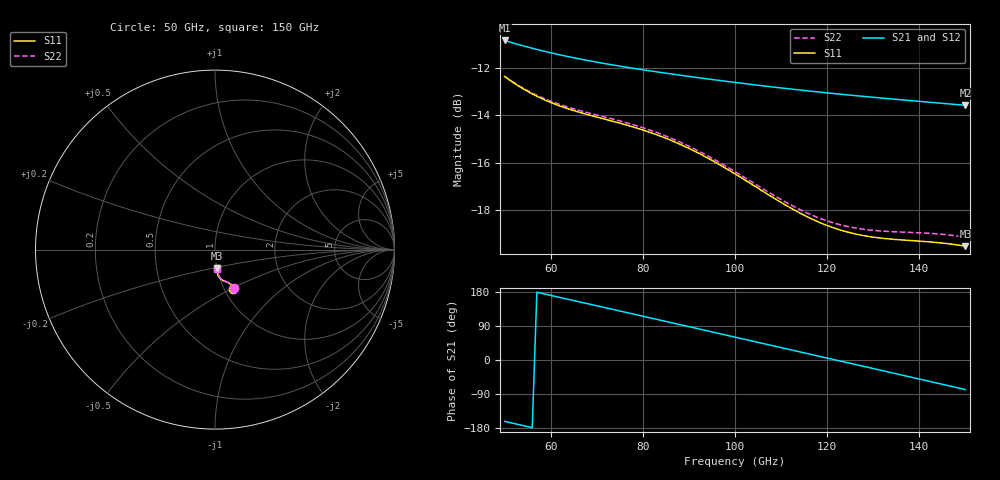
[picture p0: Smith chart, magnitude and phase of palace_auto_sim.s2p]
#  GHZ S DB R 50
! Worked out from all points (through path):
!   101 points, 50 GHz to 150 GHz, reference 50 ohm
!   highest |S21| = -10.86 dB at 50 GHz (marker M1); lowest = -13.6 dB at 150 GHz (marker M2)
!   group delay of S21, straight-line fit = 7.67 ps
!   lowest |S11| = -19.5 dB at 150 GHz (marker M3), VSWR 1.24, Z = 50.1 - j10.7 ohm
!   |S11| at or under -10 dB: start of sweep to end of sweep
!   |S22| runs from -19.1 to -12.4 dB; largest |S21 - S12| = 3.2e-13
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50  -12.37 -65.1  -10.86 -162.0  -10.86 -162.0  -12.36 -63.8
54  -12.89 -65.6  -11.09 -173.0  -11.09 -173.0  -12.86 -64.2
58  -13.30 -65.9  -11.29 176.0  -11.29 176.0  -13.25 -64.5
62  -13.61 -66.4  -11.46 165.0  -11.46 165.0  -13.55 -64.9
67  -13.92 -67.4  -11.66 151.3  -11.66 151.3  -13.84 -65.9
72  -14.18 -69.0  -11.84 137.6  -11.84 137.6  -14.09 -67.6
76  -14.39 -70.7  -11.97 126.6  -11.97 126.6  -14.29 -69.3
80  -14.62 -72.7  -12.09 115.6  -12.09 115.6  -14.53 -71.2
84  -14.89 -74.8  -12.21 104.6  -12.21 104.6  -14.80 -73.4
88  -15.21 -76.9  -12.32 93.5  -12.32 93.5  -15.12 -75.5
92  -15.59 -79.0  -12.42 82.5  -12.42 82.5  -15.50 -77.5
96  -16.00 -80.9  -12.52 71.4  -12.52 71.4  -15.92 -79.4
100  -16.46 -82.4  -12.62 60.4  -12.62 60.4  -16.37 -80.8
105  -17.07 -83.7  -12.74 46.6  -12.74 46.6  -16.96 -82.0
109  -17.55 -84.2  -12.83 35.5  -12.83 35.5  -17.43 -82.4
117  -18.39 -83.7  -13.00 13.4  -13.00 13.4  -18.22 -81.7
121  -18.70 -83.0  -13.08 2.4  -13.08 2.4  -18.50 -81.0
125  -18.94 -82.2  -13.16 -8.7  -13.16 -8.7  -18.70 -80.3
129  -19.09 -81.5  -13.23 -19.8  -13.23 -19.8  -18.81 -79.8
134  -19.20 -81.1  -13.32 -33.6  -13.32 -33.6  -18.89 -79.6
142  -19.32 -81.6  -13.45 -55.8  -13.45 -55.8  -18.96 -80.7
150  -19.50 -83.3  -13.58 -78.0  -13.58 -78.0  -19.12 -83.2
